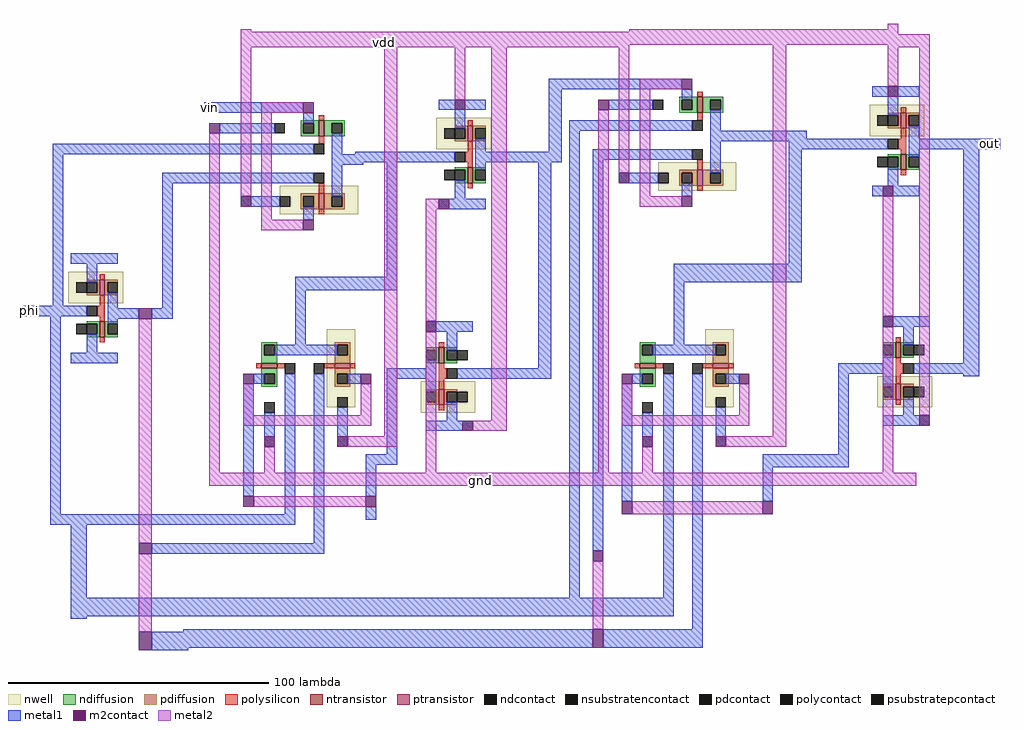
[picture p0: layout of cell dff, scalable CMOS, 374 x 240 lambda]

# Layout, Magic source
magic
tech scmos
<< metal1 >>
rect 92 50 120 54
rect -40 41 -26 45
rect -34 33 -23 37
rect -98 25 -23 29
rect 92 26 97 50
rect 115 42 119 46
rect -98 -33 -94 25
rect 18 22 51 26
rect 64 22 97 26
rect 100 34 128 38
rect -56 14 -26 18
rect -109 -37 -87 -33
rect -56 -34 -52 14
rect 30 -22 34 22
rect -99 -113 -95 -37
rect -74 -38 -65 -34
rect -60 -38 -52 -34
rect -5 -27 34 -22
rect -5 -45 -1 -27
rect 88 -57 93 22
rect 30 -61 48 -57
rect 61 -61 93 -57
rect -25 -106 -21 -87
rect -9 -113 -5 -86
rect -99 -117 -5 -113
rect -91 -145 -85 -117
rect 2 -124 6 -84
rect 30 -90 34 -61
rect 22 -94 34 -90
rect 22 -106 26 -94
rect 22 -115 26 -110
rect -60 -128 6 -124
rect 100 -145 104 34
rect 163 31 191 34
rect 163 30 221 31
rect 184 27 221 30
rect 230 27 265 31
rect 109 23 123 27
rect 109 -127 113 23
rect 184 -17 189 27
rect 140 -24 189 -17
rect 140 -45 144 -24
rect 251 -55 257 27
rect 203 -59 222 -55
rect 234 -59 257 -55
rect 120 -108 124 -86
rect 136 -145 140 -79
rect -91 -152 140 -145
rect -91 -153 -85 -152
rect 147 -157 151 -84
rect 203 -90 207 -59
rect 251 -60 257 -59
rect 174 -95 207 -90
rect 174 -108 178 -95
rect -48 -158 109 -157
rect -60 -164 109 -158
rect 113 -164 151 -157
rect -60 -165 -46 -164
<< metal2 >>
rect 222 73 226 75
rect -26 72 -22 73
rect 123 72 226 73
rect -26 71 226 72
rect -26 67 238 71
rect -26 66 123 67
rect -65 -124 -60 -38
rect -38 -97 -34 33
rect -26 9 -22 66
rect 29 -83 34 66
rect 56 46 60 66
rect 15 -87 34 -83
rect 45 4 50 8
rect 45 -39 49 4
rect -17 -97 -13 -87
rect 45 -97 49 -43
rect 70 -77 76 66
rect 63 -81 76 -77
rect 111 -97 115 42
rect 119 18 123 66
rect 178 -83 183 67
rect 222 66 238 67
rect 222 51 226 66
rect 160 -87 183 -83
rect 220 -37 224 9
rect 128 -97 132 -87
rect 220 -97 224 -41
rect 234 -75 238 66
rect -38 -102 233 -97
rect -21 -110 22 -106
rect 124 -113 174 -108
rect -65 -158 -60 -128
rect 109 -157 113 -131
<< m2contact >>
rect 56 42 60 46
rect -38 33 -34 37
rect 222 47 226 51
rect 111 42 115 46
rect -26 5 -22 9
rect 50 4 54 8
rect -65 -38 -60 -34
rect 45 -43 49 -39
rect -17 -87 -13 -83
rect -25 -110 -21 -106
rect 11 -87 15 -83
rect 59 -81 63 -77
rect 22 -110 26 -106
rect -65 -128 -60 -124
rect 119 14 123 18
rect 220 9 224 13
rect 220 -41 224 -37
rect 128 -87 132 -83
rect 120 -113 124 -108
rect 109 -131 113 -127
rect 156 -87 160 -83
rect 234 -79 238 -75
rect 174 -113 178 -108
rect -65 -165 -60 -158
rect 109 -164 113 -157
use inv  inv_4
transform 1 0 -88 0 1 -38
box -4 -17 17 25
use transmission  transmission_3
transform 0 -1 3 1 0 -54
box -33 -21 14 28
use inv  inv_3
transform -1 0 60 0 -1 -56
box -4 -17 17 25
use transmission  transmission_2
transform 0 -1 148 1 0 -54
box -33 -21 14 28
use inv  inv_2
transform -1 0 235 0 -1 -54
box -4 -17 17 25
use inv  inv_1
transform 1 0 219 0 1 26
box -4 -17 17 25
use transmission  transmission_1
transform 1 0 152 0 1 26
box -33 -21 14 28
use inv  inv_0
transform 1 0 53 0 1 21
box -4 -17 17 25
use transmission  transmission_0
transform 1 0 7 0 1 17
box -33 -21 14 28
<< labels >>
rlabel metal1 -38 43 -38 43 1 vin
rlabel metal2 29 68 29 68 1 vdd
rlabel metal2 66 -100 66 -100 1 gnd
rlabel metal1 -107 -35 -107 -35 3 phi
rlabel metal1 261 29 261 29 7 out
<< end >>

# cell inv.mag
magic
tech scmos
<< nwell >>
rect -4 6 17 18
<< polysilicon >>
rect 8 15 10 17
rect 8 5 10 9
rect 7 1 10 5
rect 8 -1 10 1
rect 8 -9 10 -7
<< ndiffusion >>
rect 3 -2 8 -1
rect 7 -6 8 -2
rect 3 -7 8 -6
rect 10 -2 15 -1
rect 10 -6 11 -2
rect 10 -7 15 -6
<< pdiffusion >>
rect 3 14 8 15
rect 7 10 8 14
rect 3 9 8 10
rect 10 14 15 15
rect 10 10 11 14
rect 10 9 15 10
<< metal1 >>
rect -3 21 15 25
rect 3 14 7 21
rect -3 1 3 5
rect 11 -2 15 10
rect 3 -13 7 -6
rect -3 -17 15 -13
<< ntransistor >>
rect 8 -7 10 -1
<< ptransistor >>
rect 8 9 10 15
<< polycontact >>
rect 3 1 7 5
<< ndcontact >>
rect 3 -6 7 -2
rect 11 -6 15 -2
<< pdcontact >>
rect 3 10 7 14
rect 11 10 15 14
<< psubstratepcontact >>
rect -1 -6 3 -2
<< nsubstratencontact >>
rect -1 10 3 14
<< labels >>
rlabel metal1 1 22 1 22 4 vdd
rlabel metal1 -1 3 -1 3 3 in
rlabel metal1 13 3 13 3 7 out
rlabel metal1 5 -15 5 -15 1 gnd
<< end >>

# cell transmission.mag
magic
tech scmos
<< nwell >>
rect -18 -15 12 -4
<< polysilicon >>
rect -3 21 -1 23
rect -3 12 -1 15
rect -3 -7 -1 -3
rect -3 -15 -1 -13
<< ndiffusion >>
rect -10 20 -3 21
rect -10 16 -9 20
rect -5 16 -3 20
rect -10 15 -3 16
rect -1 20 7 21
rect -1 16 2 20
rect 6 16 7 20
rect -1 15 7 16
<< pdiffusion >>
rect -10 -8 -3 -7
rect -10 -12 -9 -8
rect -5 -12 -3 -8
rect -10 -13 -3 -12
rect -1 -8 7 -7
rect -1 -12 2 -8
rect 6 -12 7 -8
rect -1 -13 7 -12
<< metal1 >>
rect -33 24 -9 28
rect -9 20 -5 24
rect -33 16 -20 20
rect -33 8 -5 12
rect 2 8 6 16
rect 2 4 14 8
rect -33 -3 -5 1
rect 2 -8 6 4
rect -33 -12 -18 -8
rect -9 -17 -5 -12
<< metal2 >>
rect -25 24 -9 28
rect -25 -17 -21 24
rect -25 -21 -9 -17
<< ntransistor >>
rect -3 15 -1 21
<< ptransistor >>
rect -3 -13 -1 -7
<< polycontact >>
rect -5 8 -1 12
rect -5 -3 -1 1
<< ndcontact >>
rect -9 16 -5 20
rect 2 16 6 20
<< pdcontact >>
rect -9 -12 -5 -8
rect 2 -12 6 -8
<< m2contact >>
rect -9 24 -5 28
rect -9 -21 -5 -17
<< psubstratepcontact >>
rect -20 16 -16 20
<< nsubstratencontact >>
rect -18 -12 -14 -8
<< labels >>
rlabel metal1 -31 10 -31 10 3 A
rlabel metal1 -31 26 -31 26 4 in
rlabel metal1 12 6 12 6 7 out
rlabel metal1 -31 -10 -31 -10 3 vdd
rlabel metal1 -31 18 -31 18 3 gnd
rlabel metal1 -31 -1 -31 -1 3 Anot
<< end >>
